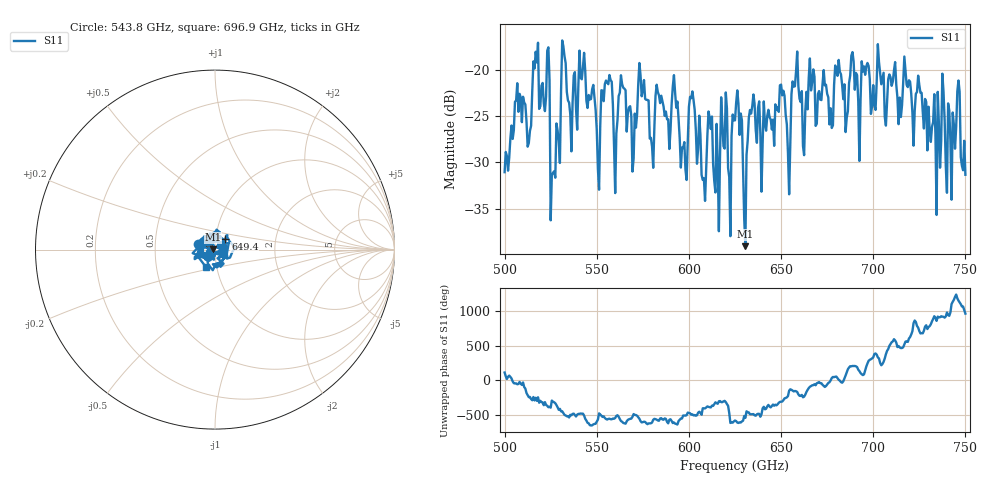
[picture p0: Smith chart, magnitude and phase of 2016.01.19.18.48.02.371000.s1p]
!Created with skrf (http://scikit-rf.org).
# GHz S RI R 50.0
!freq ReS11 ImS11
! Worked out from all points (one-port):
!   401 points, 500 GHz to 750 GHz, reference 50 ohm
!   lowest |S11| = -39.0 dB at 630.6 GHz (marker M1), VSWR 1.02, Z = 48.9 + j0.101 ohm
!   |S11| at or under -10 dB: start of sweep to end of sweep
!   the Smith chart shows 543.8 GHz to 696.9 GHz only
!   S11 on the Smith chart (normalised r, x): 543.8 GHz: 0.83, +0.05; 649.4 GHz: 1.11, +0.13; 696.9 GHz: 0.89, -0.17
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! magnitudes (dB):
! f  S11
! 500 GHz  -31.0
! 506.9 GHz  -21.4
! 513.1 GHz  -27.9
! 516.9 GHz  -18.0
! 523.1 GHz  -17.9
! 526.2 GHz  -31.1
! 531.2 GHz  -16.8
! 543.8 GHz  -20.1
! 550.6 GHz  -30.7
! 562.5 GHz  -22.5
! 593.8 GHz  -23.4
! 597.5 GHz  -27.8
! 601.9 GHz  -22.3
! 608.1 GHz  -31.7
! 611.2 GHz  -25.1
! 622.5 GHz  -38.0
! 625 GHz  -25.4
! 630.6 GHz  -39.0
! 633.8 GHz  -24.7
! 649.4 GHz  -21.7
! 653.8 GHz  -29.1
! 656.2 GHz  -21.2
! 687.5 GHz  -20.6
! 696.9 GHz  -19.2
! 718.8 GHz  -21.9
! 735.6 GHz  -25.8
! 746.2 GHz  -21.1
! 750 GHz  -31.3
